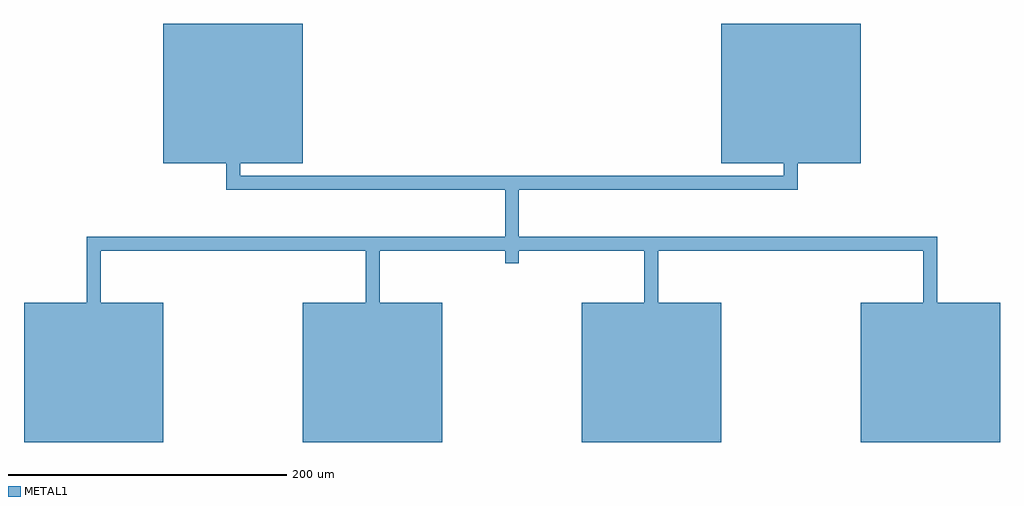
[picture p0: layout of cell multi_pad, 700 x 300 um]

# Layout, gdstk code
import gdstk
lib = gdstk.Library(unit=1e-6, precision=1e-09)
def R(c, l, rs):  # rectangles x0, y0, x1, y1
    for r in rs: c.add(gdstk.rectangle(r[:2], r[2:], *l))
def P(c, l, *ps):  # polygons
    for p in ps: c.add(gdstk.Polygon(p, *l))
METAL1 = (2, 0)

pad_m1 = lib.new_cell('pad_m1')
R(pad_m1, METAL1, [(-50,-50,50,50)])

multi_pad = lib.new_cell('multi_pad')
P(multi_pad, METAL1, [(295,78.333),(295,141),(495,141),(495,150),(505,150),(505,131),(305,131),(305,78.333)],
  [(395,50),(395,87.333),(305,87.333),(305,78.333),(295,78.333),(295,97.333),(405,97.333),(405,50)],
  [(595,50),(595,87.333),(305,87.333),(305,78.333),(295,78.333),(295,97.333),(605,97.333),(605,50)],
  [(295,78.333),(295,131),(95,131),(95,150),(105,150),(105,141),(305,141),(305,78.333)],
  [(195,50),(195,97.333),(305,97.333),(305,78.333),(295,78.333),(295,87.333),(205,87.333),(205,50)],
  [(-5,50),(-5,97.333),(305,97.333),(305,78.333),(295,78.333),(295,87.333),(5,87.333),(5,50)])
multi_pad.add(gdstk.Reference(pad_m1, (500,200)))
multi_pad.add(gdstk.Reference(pad_m1, (600,0)))
multi_pad.add(gdstk.Reference(pad_m1, (400,0)))
multi_pad.add(gdstk.Reference(pad_m1, (100,200)))
multi_pad.add(gdstk.Reference(pad_m1, (200,0)))
multi_pad.add(gdstk.Reference(pad_m1, (0,0)))

lib.write_gds('multi_pad.gds')
